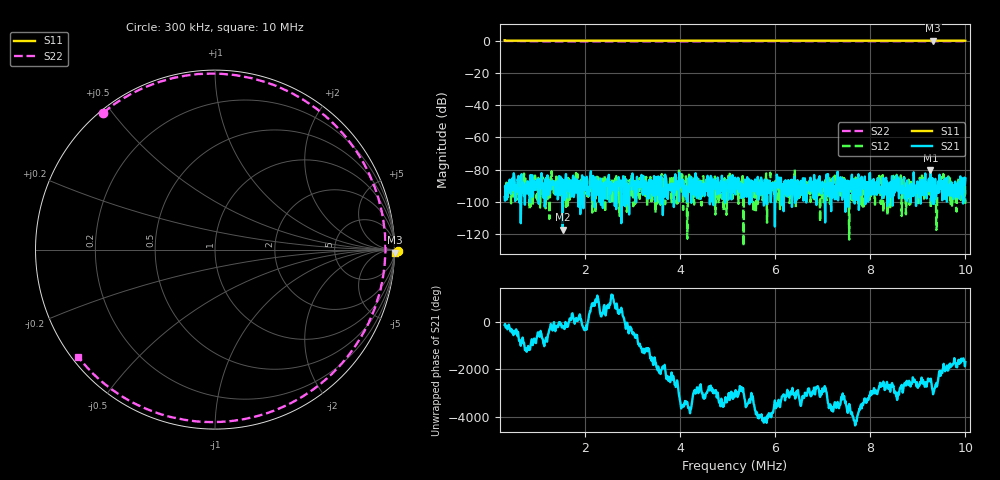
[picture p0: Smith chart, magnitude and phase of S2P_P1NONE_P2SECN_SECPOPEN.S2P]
!Keysight Technologies,E5061B,MY49709559,B.05.06
!Date: Thu Apr 07 18:56:33 2022
!Data & Calibration Information:
!Freq	S11:SOLT2(ON)	S21:SOLT2(ON)	S12:SOLT2(ON)	S22:SOLT2(ON)
# Hz S RI R 50
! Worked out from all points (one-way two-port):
!   1000 points, 300 kHz to 10 MHz, reference 50 ohm
!   highest |S21| = -80.40 dB at 9.262 MHz (marker M1); lowest = -117.2 dB at 1.523 MHz (marker M2)
!   lowest |S11| = 0.0 dB at 9.32 MHz (marker M3)
!   |S11| at or under -10 dB: nowhere
!   |S22| runs from -0.5 to -0.1 dB; largest |S21 - S12| = 0.00013
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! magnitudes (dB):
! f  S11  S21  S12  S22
! 300 kHz  0.1  -96.9  -90.2  -0.1
! 377.7 kHz  0.1  -89.9  -94.7  -0.1
! 465.1 kHz  0.1  -85.2  -92.2  -0.1
! 571.9 kHz  0.1  -86.0  -89.4  -0.2
! 892.3 kHz  0.0  -96.8  -101.8  -0.3
! 1.077 MHz  0.0  -82.1  -89.4  -0.4
! 1.3 MHz  0.0  -86.8  -91.0  -0.4
! 1.523 MHz  0.0  -117.2  -85.5  -0.4
! 1.766 MHz  0.0  -95.1  -88.6  -0.5
! 1.922 MHz  0.0  -95.3  -87.1  -0.5
! 2.426 MHz  0.0  -87.5  -89.8  -0.5
! 3.543 MHz  0.0  -88.3  -90.9  -0.4
! 4.359 MHz  0.0  -86.2  -94.2  -0.3
! 5.155 MHz  0.0  -84.9  -89.4  -0.3
! 5.796 MHz  0.0  -89.5  -87.9  -0.3
! 6.349 MHz  0.0  -103.1  -90.4  -0.3
! 6.359 MHz  0.0  -93.8  -94.7  -0.3
! 6.767 MHz  0.0  -90.2  -92.8  -0.3
! 8.388 MHz  0.0  -98.5  -100.0  -0.3
! 9.262 MHz  0.0  -80.4  -91.0  -0.3
! 9.32 MHz  0.0  -89.5  -92.9  -0.3
! 10 MHz  0.0  -85.4  -101.2  -0.3
